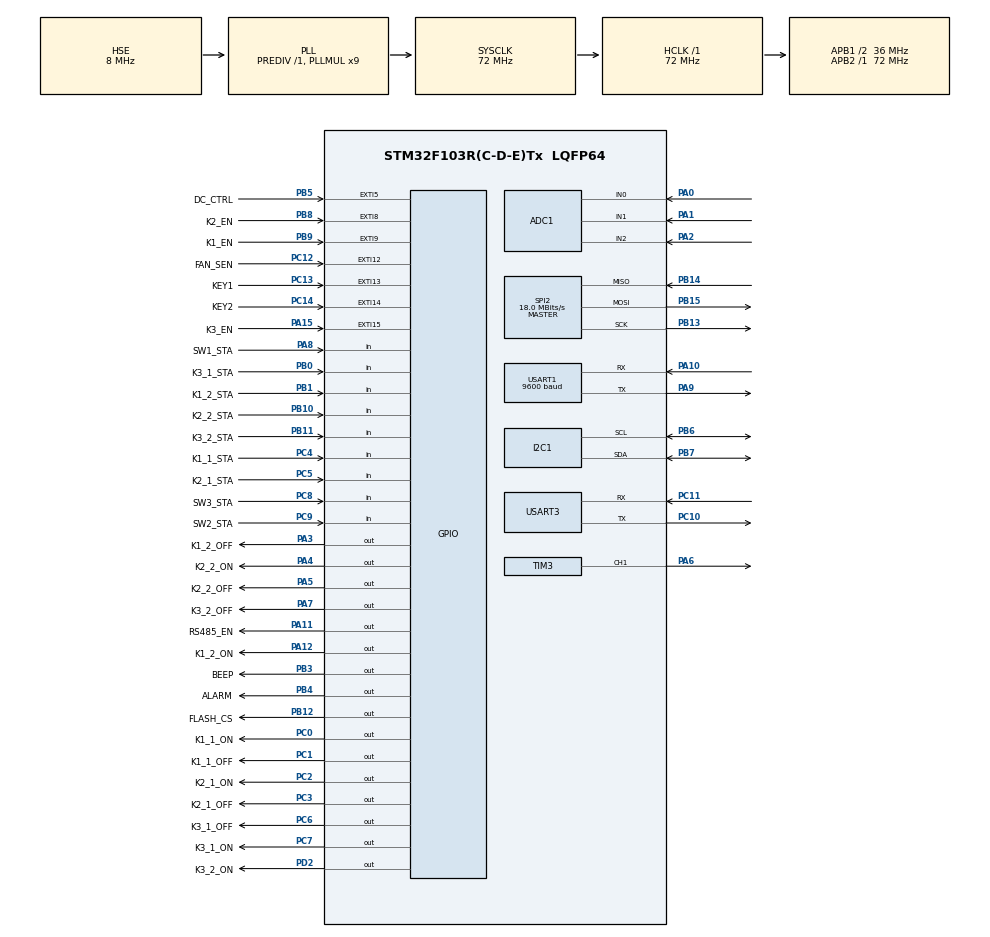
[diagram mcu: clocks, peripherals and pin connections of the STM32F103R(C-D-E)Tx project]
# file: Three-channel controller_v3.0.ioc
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ADC1.Channel-1\#ChannelRegularConversion=ADC_CHANNEL_1
ADC1.Channel-2\#ChannelRegularConversion=ADC_CHANNEL_2
ADC1.ContinuousConvMode=ENABLE
ADC1.DiscontinuousConvMode=DISABLE
ADC1.NbrOfConversion=3
ADC1.NbrOfConversionFlag=1
ADC1.Rank-1\#ChannelRegularConversion=2
ADC1.Rank-2\#ChannelRegularConversion=3
ADC1.SamplingTime-0\#ChannelRegularConversion=ADC_SAMPLETIME_55CYCLES_5
ADC1.SamplingTime-1\#ChannelRegularConversion=ADC_SAMPLETIME_55CYCLES_5
ADC1.SamplingTime-2\#ChannelRegularConversion=ADC_SAMPLETIME_55CYCLES_5
ADC1.master=1
Dma.ADC1.0.Direction=DMA_PERIPH_TO_MEMORY
Dma.ADC1.0.Instance=DMA1_Channel1
Dma.ADC1.0.MemDataAlignment=DMA_MDATAALIGN_HALFWORD
Dma.ADC1.0.MemInc=DMA_MINC_ENABLE
Dma.ADC1.0.Mode=DMA_CIRCULAR
Dma.ADC1.0.PeriphDataAlignment=DMA_PDATAALIGN_HALFWORD
Dma.ADC1.0.PeriphInc=DMA_PINC_DISABLE
Dma.ADC1.0.Priority=DMA_PRIORITY_LOW
Dma.Request0=ADC1
IWDG.Prescaler=IWDG_PRESCALER_256
IWDG.Reload=1093
Mcu.Family=STM32F1
Mcu.Name=STM32F103R(C-D-E)Tx
Mcu.Package=LQFP64
NVIC.ADC1_2_IRQn=true\:5\:0\:true\:false\:true\:true\:true\:true
NVIC.EXTI15_10_IRQn=true\:4\:0\:true\:false\:true\:true\:true\:true
NVIC.EXTI9_5_IRQn=true\:4\:0\:true\:false\:true\:true\:true\:true
NVIC.PriorityGroup=NVIC_PRIORITYGROUP_4
NVIC.USART3_IRQn=true\:0\:0\:false\:false\:true\:true\:true\:true
PA0-WKUP.GPIO_Mode=GPIO_MODE_ANALOG
PA0-WKUP.Signal=ADCx_IN0
PA1.GPIO_Mode=GPIO_MODE_ANALOG
PA1.Signal=ADCx_IN1
PA10.Mode=Asynchronous
PA10.Signal=USART1_RX
PA11.GPIO_Label=RS485_EN
PA11.GPIO_PuPd=GPIO_PULLDOWN
PA11.GPIO_Speed=GPIO_SPEED_FREQ_HIGH
PA11.PinState=GPIO_PIN_RESET
PA11.Signal=GPIO_Output
PA12.GPIO_Label=K1_2_ON
PA12.GPIO_PuPd=GPIO_PULLUP
PA12.GPIO_Speed=GPIO_SPEED_FREQ_HIGH
PA12.PinState=GPIO_PIN_SET
PA12.Signal=GPIO_Output
PA13.Mode=Serial_Wire
PA13.Signal=SYS_JTMS-SWDIO
PA14.Mode=Serial_Wire
PA14.Signal=SYS_JTCK-SWCLK
PA15.GPIO_Label=K3_EN
PA15.GPIO_ModeDefaultEXTI=GPIO_MODE_IT_RISING_FALLING
PA15.GPIO_PuPd=GPIO_PULLUP
PA15.Signal=GPXTI15
PA2.GPIO_Mode=GPIO_MODE_ANALOG
PA2.Signal=ADCx_IN2
PA3.GPIO_Label=K1_2_OFF
PA3.GPIO_PuPd=GPIO_PULLUP
PA3.GPIO_Speed=GPIO_SPEED_FREQ_HIGH
PA3.PinState=GPIO_PIN_SET
PA3.Signal=GPIO_Output
PA4.GPIO_Label=K2_2_ON
PA4.GPIO_PuPd=GPIO_PULLUP
PA4.GPIO_Speed=GPIO_SPEED_FREQ_HIGH
PA4.PinState=GPIO_PIN_SET
PA4.Signal=GPIO_Output
PA5.GPIO_Label=K2_2_OFF
PA5.GPIO_PuPd=GPIO_PULLUP
PA5.GPIO_Speed=GPIO_SPEED_FREQ_HIGH
PA5.PinState=GPIO_PIN_SET
PA5.Signal=GPIO_Output
PA6.Signal=S_TIM3_CH1
PA7.GPIO_Label=K3_2_OFF
PA7.GPIO_PuPd=GPIO_PULLUP
PA7.GPIO_Speed=GPIO_SPEED_FREQ_HIGH
PA7.PinState=GPIO_PIN_SET
PA7.Signal=GPIO_Output
PA8.GPIO_Label=SW1_STA
PA8.GPIO_PuPd=GPIO_PULLDOWN
PA8.Signal=GPIO_Input
PA9.Mode=Asynchronous
PA9.Signal=USART1_TX
PB0.GPIO_Label=K3_1_STA
PB0.GPIO_PuPd=GPIO_PULLDOWN
PB0.Signal=GPIO_Input
PB1.GPIO_Label=K1_2_STA
PB1.GPIO_PuPd=GPIO_PULLDOWN
PB1.Signal=GPIO_Input
PB10.GPIO_Label=K2_2_STA
PB10.GPIO_PuPd=GPIO_PULLDOWN
PB10.Signal=GPIO_Input
PB11.GPIO_Label=K3_2_STA
PB11.GPIO_PuPd=GPIO_PULLDOWN
PB11.Signal=GPIO_Input
PB12.GPIO_Label=FLASH_CS
PB12.GPIO_PuPd=GPIO_NOPULL
PB12.GPIO_Speed=GPIO_SPEED_FREQ_HIGH
PB12.PinState=GPIO_PIN_SET
PB12.Signal=GPIO_Output
PB13.Mode=Full_Duplex_Master
PB13.Signal=SPI2_SCK
PB14.Mode=Full_Duplex_Master
PB14.Signal=SPI2_MISO
PB15.Mode=Full_Duplex_Master
PB15.Signal=SPI2_MOSI
PB3.GPIO_Label=BEEP
PB3.GPIO_PuPd=GPIO_PULLUP
PB3.GPIO_Speed=GPIO_SPEED_FREQ_HIGH
PB3.PinState=GPIO_PIN_SET
PB3.Signal=GPIO_Output
PB4.GPIO_Label=ALARM
PB4.GPIO_PuPd=GPIO_PULLUP
PB4.GPIO_Speed=GPIO_SPEED_FREQ_HIGH
PB4.PinState=GPIO_PIN_SET
PB4.Signal=GPIO_Output
PB5.GPIO_Label=DC_CTRL
PB5.GPIO_ModeDefaultEXTI=GPIO_MODE_IT_RISING_FALLING
PB5.GPIO_PuPd=GPIO_PULLUP
PB5.Signal=GPXTI5
PB6.Mode=I2C
PB6.Signal=I2C1_SCL
PB7.Mode=I2C
PB7.Signal=I2C1_SDA
PB8.GPIO_Label=K2_EN
PB8.GPIO_ModeDefaultEXTI=GPIO_MODE_IT_RISING_FALLING
PB8.GPIO_PuPd=GPIO_PULLUP
PB8.Signal=GPXTI8
PB9.GPIO_Label=K1_EN
PB9.GPIO_ModeDefaultEXTI=GPIO_MODE_IT_RISING_FALLING
PB9.GPIO_PuPd=GPIO_PULLUP
PB9.Signal=GPXTI9
PC0.GPIO_Label=K1_1_ON
PC0.GPIO_PuPd=GPIO_PULLUP
PC0.GPIO_Speed=GPIO_SPEED_FREQ_HIGH
PC0.PinState=GPIO_PIN_SET
PC0.Signal=GPIO_Output
PC1.GPIO_Label=K1_1_OFF
PC1.GPIO_PuPd=GPIO_PULLUP
PC1.GPIO_Speed=GPIO_SPEED_FREQ_HIGH
PC1.PinState=GPIO_PIN_SET
PC1.Signal=GPIO_Output
PC10.Mode=Asynchronous
PC10.Signal=USART3_TX
PC11.Mode=Asynchronous
PC11.Signal=USART3_RX
PC12.GPIO_Label=FAN_SEN
PC12.GPIO_ModeDefaultEXTI=GPIO_MODE_IT_FALLING
PC12.GPIO_PuPd=GPIO_PULLUP
PC12.Signal=GPXTI12
PC13-TAMPER-RTC.GPIO_Label=KEY1
PC13-TAMPER-RTC.GPIO_ModeDefaultEXTI=GPIO_MODE_IT_RISING_FALLING
PC13-TAMPER-RTC.GPIO_PuPd=GPIO_PULLUP
PC13-TAMPER-RTC.Signal=GPXTI13
PC14-OSC32_IN.GPIO_Label=KEY2
PC14-OSC32_IN.GPIO_ModeDefaultEXTI=GPIO_MODE_IT_RISING_FALLING
PC14-OSC32_IN.GPIO_PuPd=GPIO_PULLUP
PC14-OSC32_IN.Signal=GPXTI14
PC2.GPIO_Label=K2_1_ON
PC2.GPIO_PuPd=GPIO_PULLUP
PC2.GPIO_Speed=GPIO_SPEED_FREQ_HIGH
PC2.PinState=GPIO_PIN_SET
PC2.Signal=GPIO_Output
PC3.GPIO_Label=K2_1_OFF
PC3.GPIO_PuPd=GPIO_PULLUP
PC3.GPIO_Speed=GPIO_SPEED_FREQ_HIGH
PC3.PinState=GPIO_PIN_SET
PC3.Signal=GPIO_Output
PC4.GPIO_Label=K1_1_STA
PC4.GPIO_PuPd=GPIO_PULLDOWN
PC4.Signal=GPIO_Input
PC5.GPIO_Label=K2_1_STA
PC5.GPIO_PuPd=GPIO_PULLDOWN
PC5.Signal=GPIO_Input
PC6.GPIO_Label=K3_1_OFF
PC6.GPIO_PuPd=GPIO_PULLUP
PC6.GPIO_Speed=GPIO_SPEED_FREQ_HIGH
PC6.PinState=GPIO_PIN_SET
PC6.Signal=GPIO_Output
PC7.GPIO_Label=K3_1_ON
PC7.GPIO_PuPd=GPIO_PULLUP
PC7.GPIO_Speed=GPIO_SPEED_FREQ_HIGH
PC7.PinState=GPIO_PIN_SET
PC7.Signal=GPIO_Output
PC8.GPIO_Label=SW3_STA
PC8.GPIO_PuPd=GPIO_PULLDOWN
PC8.Signal=GPIO_Input
PC9.GPIO_Label=SW2_STA
PC9.GPIO_PuPd=GPIO_PULLDOWN
PC9.Signal=GPIO_Input
PD0-OSC_IN.Mode=HSE-External-Oscillator
PD0-OSC_IN.Signal=RCC_OSC_IN
PD1-OSC_OUT.Mode=HSE-External-Oscillator
PD1-OSC_OUT.Signal=RCC_OSC_OUT
PD2.GPIO_Label=K3_2_ON
PD2.GPIO_PuPd=GPIO_PULLUP
PD2.GPIO_Speed=GPIO_SPEED_FREQ_HIGH
PD2.PinState=GPIO_PIN_SET
PD2.Signal=GPIO_Output
ProjectManager.HeapSize=0x200
ProjectManager.StackSize=0x400
ProjectManager.TargetToolchain=MDK-ARM V5.32
RCC.ADCPresc=RCC_ADCPCLK2_DIV6
RCC.AHBFreq_Value=72000000
RCC.APB1CLKDivider=RCC_HCLK_DIV2
RCC.APB1Freq_Value=36000000
RCC.APB1TimFreq_Value=72000000
RCC.APB2Freq_Value=72000000
RCC.APB2TimFreq_Value=72000000
RCC.HCLKFreq_Value=72000000
RCC.PLLMUL=RCC_PLL_MUL9
RCC.PLLSourceVirtual=RCC_PLLSOURCE_HSE
RCC.SYSCLKFreq_VALUE=72000000
RCC.SYSCLKSource=RCC_SYSCLKSOURCE_PLLCLK
RCC.USBFreq_Value=72000000
SH.ADCx_IN0.0=ADC1_IN0,IN0
SH.ADCx_IN1.0=ADC1_IN1,IN1
SH.ADCx_IN2.0=ADC1_IN2,IN2
SH.S_TIM3_CH1.0=TIM3_CH1,PWM Generation1 CH1
SPI2.BaudRatePrescaler=SPI_BAUDRATEPRESCALER_2
SPI2.CalculateBaudRate=18.0 MBits/s
SPI2.Direction=SPI_DIRECTION_2LINES
SPI2.Mode=SPI_MODE_MASTER
SPI2.VirtualNSS=VM_NSSSOFT
SPI2.VirtualType=VM_MASTER
TIM3.AutoReloadPreload=TIM_AUTORELOAD_PRELOAD_ENABLE
TIM3.Channel-PWM\ Generation1\ CH1=TIM_CHANNEL_1
TIM3.CounterMode=TIM_COUNTERMODE_UP
TIM3.Period=99
TIM3.Prescaler=35
TIM3.Pulse-PWM\ Generation1\ CH1=50
USART1.BaudRate=9600
USART1.VirtualMode=VM_ASYNC
USART3.VirtualMode=VM_ASYNC
VP_IWDG_VS_IWDG.Mode=IWDG_Activate
VP_TIM3_VS_ClockSourceINT.Mode=Internal
board=custom

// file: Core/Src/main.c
/* USER CODE BEGIN Header */
/**
  ******************************************************************************
  * @file           : main.c
  * @brief          : Main program body
  ******************************************************************************
  * @attention
  *
  * Copyright (c) 2025 STMicroelectronics.
  * All rights reserved.
  *
  * This software is licensed under terms that can be found in the LICENSE file
  * in the root directory of this software component.
  * If no LICENSE file comes with this software, it is provided AS-IS.
  *此处的中文秒时旨在测试cubemx的编码是否与cursoe以及keil兼容
  ******************************************************************************
  */
/* USER CODE END Header */
#include "main.h"
#include "adc.h"
#include "dma.h"
#include "i2c.h"
#include "iwdg.h"
#include "spi.h"
#include "tim.h"
#include "usart.h"
#include "gpio.h"

/* USER CODE BEGIN Includes */
#include "system_control.h"  // 系统控制和复位分析功能
#include "gpio_control.h"
#include "relay_control.h"
#include "safety_monitor.h"
#include "temperature_monitor.h"
#include "smart_delay.h"
#include "log_system.h"
#include "w25q128_driver.h"
#include "iwdg_control.h"
#include "oled_display.h"
#include <stdio.h>         // 包含标准输入输出库，用于printf功能
#include <string.h>        // 包含字符串操作函数
#include <stdarg.h>        // 包含变量参数功能

/* USER CODE END Includes */

/* USER CODE BEGIN PV */
// 外部变量声明（这些变量在其他文件中定义）
extern volatile uint8_t key1_pressed;
extern volatile uint8_t key2_pressed;
extern volatile uint32_t key1_press_start_time;
extern volatile uint32_t key2_press_start_time;
extern volatile uint8_t key1_long_press_triggered;
extern volatile uint8_t key2_long_press_triggered;
extern volatile uint32_t fan_pulse_count;

// 新增：日志输出状态管理
typedef struct {
    uint8_t is_outputting;      // 是否正在输出日志
    uint32_t current_index;     // 当前输出索引
    uint32_t total_logs;        // 总日志数量
    uint32_t last_output_time;  // 上次输出时间
} LogOutputState_t;

static LogOutputState_t log_output_state = {0};

/* USER CODE END PV */

void SystemClock_Config(void);

/* USER CODE BEGIN 0 */

/**
  * @brief  重定向printf函数到USART3，用于调试信息输出
  * @param  ch: 要发送的字符
  * @param  f: 文件指针（未使用）
  * @retval 发送的字符
  */
// int fputc(int ch, FILE *f)
// {
//   // 通过USART3发送单个字符，等待发送完成
//   HAL_UART_Transmit(&huart3, (uint8_t *)&ch, 1, HAL_MAX_DELAY);
//   return ch;  // 返回发送的字符
// }

/* USER CODE END 0 */

int main(void)
{

  /* MCU Configuration--------------------------------------------------------*/

  /* Reset of all peripherals, Initializes the Flash interface and the Systick. */
  HAL_Init();

  /* Configure the system clock */
  SystemClock_Config();

  /* Initialize all configured peripherals */
  MX_GPIO_Init();
  MX_DMA_Init();
  MX_ADC1_Init();
  MX_I2C1_Init();
  MX_IWDG_Init();
  MX_SPI2_Init();
  MX_TIM3_Init();
  MX_USART1_UART_Init();
  MX_USART3_UART_Init();
  /* USER CODE BEGIN 2 */

  // 延时200ms等待系统稳定
  HAL_Delay(200);

  // 串口初始化测试
  DEBUG_Printf("\r\n=== 三通道切换箱控制系统启动 ===\r\n");
  DEBUG_Printf("USART3调试串口初始化完成\r\n");

  // 初始化各功能模块
  DEBUG_Printf("开始初始化各功能模块...\r\n");

  // 启动风扇PWM输出
  HAL_TIM_PWM_Start(&htim3, TIM_CHANNEL_1);
  DEBUG_Printf("风扇PWM输出启动完成\r\n");

  // OLED显示模块初始化
  if(OLED_TestConnection()) {
    DEBUG_Printf("OLED连接正常，初始化OLED模块\r\n");
    OLED_Init();
  } else {
    DEBUG_Printf("OLED连接失败！\r\n");
  }

  // 温度监控模块初始化
  TemperatureMonitor_Init();
  DEBUG_Printf("温度监控模块初始化完成\r\n");

  // 继电器控制模块初始化
  RelayControl_Init();
  DEBUG_Printf("继电器控制模块初始化完成\r\n");

  // 系统控制模块初始化（包含自检流程）
  SystemControl_Init();

  // 初始化GPIO轮询系统（替代中断方式）
  GPIO_InitPollingSystem();

  // 禁用K_EN和DC_CTRL中断，改为轮询模式
  GPIO_DisableInterrupts();

  // IWDG看门狗控制模块初始化
  IwdgControl_Init();
  DEBUG_Printf("IWDG看门狗控制模块初始化完成\r\n");

  // 输出轮询系统初始化状态
  GPIO_PrintPollingStats();
 // DEBUG_Printf("=== 系统已切换为轮询模式，EMI干扰保护已启用 ===\r\n");

  // 打印复位原因统计信息（在复位原因设置完成后）
  IwdgControl_PrintResetReason();

  // 统一检测系统重启原因并记录到日志系统
  DEBUG_Printf("=== 统一检测系统重启原因 ===\r\n");
  uint8_t reset_reason_detected = 0;
  char reset_reason_msg[48] = {0};
  IwdgResetReason_t iwdg_reset_reason = IWDG_RESET_UNKNOWN;
  static uint32_t reset_count = 0;  // 重启计数（简化版，存储在静态变量中）

  // 检测看门狗复位
  if(__HAL_RCC_GET_FLAG(RCC_FLAG_IWDGRST)) {
    DEBUG_Printf("检测到看门狗复位，系统正在恢复...\r\n");
    strcpy(reset_reason_msg, "Watchdog reset detected");
    reset_reason_detected = 1;
    iwdg_reset_reason = IWDG_RESET_WATCHDOG;
    reset_count++;  // 看门狗复位计数增加
  }
  // 检测窗口看门狗复位
  else if(__HAL_RCC_GET_FLAG(RCC_FLAG_WWDGRST)) {
    DEBUG_Printf("检测到窗口看门狗复位\r\n");
    strcpy(reset_reason_msg, "Window watchdog reset");
    reset_reason_detected = 6;
    iwdg_reset_reason = IWDG_RESET_WINDOW_WATCHDOG;
    reset_count++;
  }
  // 检测软件复位
  else if(__HAL_RCC_GET_FLAG(RCC_FLAG_SFTRST)) {
    DEBUG_Printf("检测到软件复位\r\n");
    strcpy(reset_reason_msg, "Software reset");
    reset_reason_detected = 2;
    iwdg_reset_reason = IWDG_RESET_SOFTWARE;
  }
  // 检测上电复位
  else if(__HAL_RCC_GET_FLAG(RCC_FLAG_PORRST)) {
    DEBUG_Printf("检测到上电复位\r\n");
    strcpy(reset_reason_msg, "Power on reset");
    reset_reason_detected = 3;
    iwdg_reset_reason = IWDG_RESET_POWER_ON;
  }
  // 检测外部复位/引脚复位
  else if(__HAL_RCC_GET_FLAG(RCC_FLAG_PINRST)) {
    DEBUG_Printf("检测到引脚复位\r\n");
    strcpy(reset_reason_msg, "Pin reset");
    reset_reason_detected = 4;
    iwdg_reset_reason = IWDG_RESET_PIN;
  }
  else {
    DEBUG_Printf("正常启动\r\n");
    strcpy(reset_reason_msg, "Normal startup");
    reset_reason_detected = 5;
    iwdg_reset_reason = IWDG_RESET_NONE;
  }

  // 将复位原因和计数传递给IWDG模块
  IwdgControl_SetResetReason(iwdg_reset_reason);
  IwdgControl_SetResetCount(reset_count);

  // 清除复位标志（统一在此处清除，避免重复检测）
  __HAL_RCC_CLEAR_RESET_FLAGS();

  DEBUG_Printf("复位原因编码: %d, IWDG原因: %d, 复位次数: %lu\r\n",
               reset_reason_detected, iwdg_reset_reason, reset_count);

  // Flash连接测试（调试用）
  DEBUG_Printf("开始Flash连接测试...\r\n");
  if(W25Q128_TestConnection() == W25Q128_OK) {
    DEBUG_Printf("Flash连接测试通过\r\n");
  } else {
    DEBUG_Printf("Flash连接测试失败\r\n");
  }

  // 日志系统模块初始化
  if(LogSystem_Init() == LOG_SYSTEM_OK) {
    DEBUG_Printf("日志系统初始化完成\r\n");

    // 复位原因已记录到调试输出，日志记录功能已删除
  } else {
    DEBUG_Printf("日志系统初始化失败\r\n");
    // 记录初始化失败到调试输出，无法记录到Flash
  }

  // 复位分析系统初始化（在日志系统之后）
  if(ResetAnalysis_Init() == 0) {
    DEBUG_Printf("复位分析系统初始化完成\r\n");
    // 复位分析系统初始化完成，日志记录功能已删除
  } else {
    DEBUG_Printf("复位分析系统初始化失败\r\n");
  }

  // 注意：IWDG将在系统进入正常状态后自动启动，无需在此处阻塞延时
  DEBUG_Printf("系统初始化完成，开始状态机循环\r\n");

  // 输出复位原因修复验证信息
  DEBUG_Printf("\r\n=== 复位原因记录修复验证 ===\r\n");
  DEBUG_Printf("? 复位检测已统一到main.c处理\r\n");
  DEBUG_Printf("? 避免了iwdg_control.c的重复检测\r\n");
  DEBUG_Printf("? 确保复位原因在日志系统初始化后记录\r\n");
  DEBUG_Printf("? 支持完整的复位类型检测和日志记录\r\n");
  DEBUG_Printf("验证方法: 重启系统后使用KEY1长按3秒查看日志\r\n");

  /* USER CODE END 2 */

  /* Infinite loop */
  while (1)
  {

    /* USER CODE BEGIN 3 */

    // ? 最高优先级：GPIO轮询处理（替代中断方式）
    GPIO_ProcessPolling();

    // ? 优先处理DC_CTRL中断标志（避免看门狗复位）
    SafetyMonitor_ProcessDcCtrlInterrupt();

    // 系统控制模块状态机处理（包含自检、主循环调度等）
    SystemControl_Process();

    // PC13按键状态检测（按键松开时执行功能）
    static uint8_t key1_was_pressed = 0;
    static uint32_t key1_saved_start_time = 0;  // 保存按键开始时间

    if (key1_pressed) {
        if (!key1_was_pressed) {
            key1_was_pressed = 1;  // 标记按键曾经被按下
            key1_saved_start_time = key1_press_start_time;  // 保存开始时间
        }

        // 按键按下期间，只显示提示信息，不执行功能
        uint32_t current_time = HAL_GetTick();
        uint32_t press_duration = current_time - key1_saved_start_time;

        // 显示按键提示（每秒更新一次）
        static uint32_t last_hint_time = 0;
        if (current_time - last_hint_time >= 1000) {
            last_hint_time = current_time;

            if (key2_pressed) {
                if (press_duration >= 3000) {
                    DEBUG_Printf("KEY1+KEY2已按下 %.1f 秒，松开将执行FLASH读取测试\r\n", press_duration/1000.0f);
                } else {
                    DEBUG_Printf("KEY1+KEY2已按下 %.1f 秒，需3秒执行FLASH读取测试\r\n", press_duration/1000.0f);
                }
            } else {
                if (press_duration >= 8000) {
                    DEBUG_Printf("KEY1已按下 %.1f 秒，松开将执行FLASH状态查看\r\n", press_duration/1000.0f);
                } else if (press_duration >= 3000) {
                    DEBUG_Printf("KEY1已按下 %.1f 秒，松开将输出日志，继续按下8秒可查看FLASH状态\r\n", press_duration/1000.0f);
                } else {
                    DEBUG_Printf("KEY1已按下 %.1f 秒，需3秒输出日志，8秒查看FLASH状态\r\n", press_duration/1000.0f);
                }
            }
        }
    } else if (key1_was_pressed && !key1_long_press_triggered) {
        // 按键松开，根据总按压时长执行对应功能
        uint32_t total_press_duration = HAL_GetTick() - key1_saved_start_time;

        // 检查是否有双键组合
        static uint8_t key2_was_pressed_with_key1 = 0;
        if (key2_pressed) {
            key2_was_pressed_with_key1 = 1;
        }

        if (key2_was_pressed_with_key1 && total_press_duration >= 3000) {
            // KEY1+KEY2组合功能已删除
            key1_long_press_triggered = 1;
            key2_long_press_triggered = 1;
            DEBUG_Printf("\r\n=== KEY1+KEY2组合（%.1f秒），功能已删除 ===\r\n", total_press_duration/1000.0f);
        } else if (!key2_was_pressed_with_key1) {
            // 单独KEY1
            if (total_press_duration >= 8000) {
                // KEY1长按8秒：FLASH状态查看
                key1_long_press_triggered = 1;
                DEBUG_Printf("\r\n=== KEY1长按%.1f秒，查看FLASH状态 ===\r\n", total_press_duration/1000.0f);
                SystemControl_PrintFlashStatus();
                DEBUG_Printf("=== FLASH状态查看完成 ===\r\n");
            } else if (total_press_duration >= 5000) {
                // KEY1长按5秒：输出日志（调整为5秒，让出3秒给复位分析）
                key1_long_press_triggered = 1;
                DEBUG_Printf("\r\n=== KEY1长按%.1f秒，开始输出日志 ===\r\n", total_press_duration/1000.0f);

                // 启动分批日志输出
                if (LogSystem_IsInitialized() && !log_output_state.is_outputting) {
                    log_output_state.is_outputting = 1;
                    log_output_state.current_index = 0;
                    log_output_state.total_logs = LogSystem_GetLogCount();
                    log_output_state.last_output_time = HAL_GetTick();

                    // 输出日志头信息
                    LogSystem_OutputHeader();

                    DEBUG_Printf("开始分批输出 %lu 条日志...\r\n", log_output_state.total_logs);
                } else if (!LogSystem_IsInitialized()) {
                    DEBUG_Printf("日志系统未初始化，无法输出日志\r\n");
                }
                DEBUG_Printf("=== 日志输出完成 ===\r\n");
            } else if (total_press_duration >= 3000) {
                // KEY1长按3秒：输出日志
                key1_long_press_triggered = 1;
                DEBUG_Printf("\r\n=== KEY1长按%.1f秒，开始输出日志 ===\r\n", total_press_duration/1000.0f);
                LogSystem_OutputAll(LOG_FORMAT_DETAILED);
            } else {
                DEBUG_Printf("KEY1按压时间不足3秒（%.1f秒），无操作\r\n", total_press_duration/1000.0f);
            }
        }

        // 重置所有标志
        key1_was_pressed = 0;
        key2_was_pressed_with_key1 = 0;
    }

    // 分批日志输出处理（非阻塞）
    if (log_output_state.is_outputting) {
        uint32_t current_time = HAL_GetTick();

        // 每10ms输出一条日志，避免阻塞主循环
        if (current_time - log_output_state.last_output_time >= 10) {
            if (log_output_state.current_index < log_output_state.total_logs) {
                // 输出单条日志
                LogSystem_OutputSingle(log_output_state.current_index, LOG_FORMAT_DETAILED);
                log_output_state.current_index++;
                log_output_state.last_output_time = current_time;

                // 每10条日志输出一次进度
                if (log_output_state.current_index % 10 == 0) {
                    DEBUG_Printf("输出进度: %lu/%lu\r\n",
                                log_output_state.current_index,
                                log_output_state.total_logs);
                }
            } else {
                // 输出完成
                LogSystem_OutputFooter();
                DEBUG_Printf("=== 日志输出完成 ===\r\n");
                log_output_state.is_outputting = 0;
            }
        }
    }

    // PC14按键状态检测（按键松开时执行功能）
    static uint8_t key2_was_pressed = 0;
    static uint32_t key2_saved_start_time = 0;  // 保存按键开始时间

    if (key2_pressed) {
        if (!key2_was_pressed) {
            key2_was_pressed = 1;  // 标记按键曾经被按下
            key2_saved_start_time = key2_press_start_time;  // 保存开始时间
            DEBUG_Printf("[KEY2调试] 按键按下检测，开始时间: %lu\r\n", key2_saved_start_time);
        }

        // 按键按下期间，只显示提示信息，不执行功能
        uint32_t current_time = HAL_GetTick();
        uint32_t press_duration = current_time - key2_saved_start_time;

        // 显示按键提示（每秒更新一次）
        static uint32_t last_hint_time2 = 0;
        if (current_time - last_hint_time2 >= 1000) {
            last_hint_time2 = current_time;

            // 只有在没有同时按下KEY1时才显示单独KEY2提示
            if (!key1_pressed) {
                if (press_duration >= 15000) {
                    DEBUG_Printf("KEY2已按下 %.1f 秒，松开将完全擦除FLASH（危险！）\r\n", press_duration/1000.0f);
                } else if (press_duration >= 10000) {
                    DEBUG_Printf("KEY2已按下 %.1f 秒，松开将执行完整写满测试，继续按下15秒可完全擦除\r\n", press_duration/1000.0f);
                } else if (press_duration >= 8000) {
                    DEBUG_Printf("KEY2已按下 %.1f 秒，松开将执行快速写满测试，继续按下10秒完整写满\r\n", press_duration/1000.0f);
                } else if (press_duration >= 3000) {
                    DEBUG_Printf("KEY2已按下 %.1f 秒，松开将快速清空日志，继续按下8秒快速写满\r\n", press_duration/1000.0f);
                } else {
                    DEBUG_Printf("KEY2已按下 %.1f 秒，需3秒清空，8秒快速写满，10秒完整写满，15秒完全擦除\r\n", press_duration/1000.0f);
                }
            } else {
                DEBUG_Printf("[KEY2调试] KEY1同时按下，不显示单独KEY2提示\r\n");
            }
        }
    } else if (key2_was_pressed && !key2_long_press_triggered) {
        // 按键松开，根据总按压时长执行对应功能
        uint32_t total_press_duration = HAL_GetTick() - key2_saved_start_time;
        DEBUG_Printf("[KEY2调试] 按键松开，总时长: %.1f秒, key2_long_press_triggered: %d\r\n",
                    total_press_duration/1000.0f, key2_long_press_triggered);

        // 只有在没有同时按下KEY1时才执行单独KEY2操作
        static uint8_t key1_was_pressed_with_key2 = 0;
        if (key1_pressed) {
            key1_was_pressed_with_key2 = 1;
            DEBUG_Printf("[KEY2调试] 检测到KEY1同时按下\r\n");
        }

        DEBUG_Printf("[KEY2调试] key1_was_pressed_with_key2: %d\r\n", key1_was_pressed_with_key2);

        if (!key1_was_pressed_with_key2) {
            DEBUG_Printf("[KEY2调试] 进入单独KEY2操作判断\r\n");
            // 单独KEY2操作
            if (total_press_duration >= 15000) {
                // KEY2长按15秒：功能已删除
                key2_long_press_triggered = 1;
                DEBUG_Printf("\r\n=== KEY2长按%.1f秒，测试功能已删除 ===\r\n", total_press_duration/1000.0f);
            } else if (total_press_duration >= 10000) {
                // KEY2长按10秒：功能已删除
                key2_long_press_triggered = 1;
                DEBUG_Printf("\r\n=== KEY2长按%.1f秒，测试功能已删除 ===\r\n", total_press_duration/1000.0f);
            } else if (total_press_duration >= 8000) {
                // KEY2长按8秒：功能已删除
                key2_long_press_triggered = 1;
                DEBUG_Printf("\r\n=== KEY2长按%.1f秒，测试功能已删除 ===\r\n", total_press_duration/1000.0f);
            } else if (total_press_duration >= 3000) {
                // KEY2长按3秒：完全清空日志和复位分析（增强功能）
                key2_long_press_triggered = 1;
                DEBUG_Printf("[KEY2调试] 进入3秒清空日志逻辑\r\n");
                DEBUG_Printf("\r\n=== KEY2长按%.1f秒，开始完全清空系统数据 ===\r\n", total_press_duration/1000.0f);

                // 第一步：清空日志系统
                if (LogSystem_IsInitialized()) {
                    DEBUG_Printf("[KEY2调试] 日志系统已初始化，开始清空\r\n");
                    LogSystemStatus_t status = LogSystem_Reset();  // 使用快速重置方式
                    if (status == LOG_SYSTEM_OK) {
                        DEBUG_Printf("? 日志系统已清空\r\n");
                    } else {
                        DEBUG_Printf("? 日志清空失败，状态码: %d\r\n", status);
                    }
                } else {
                    DEBUG_Printf("? 日志系统未初始化，无法清空日志\r\n");
                }

                // 复位分析系统重置功能已删除
                DEBUG_Printf("复位分析系统重置功能已删除\r\n");

                DEBUG_Printf("=== 系统数据完全清空操作完成 ===\r\n");
                DEBUG_Printf("已清空\r\n");  // 用户要求的反馈信息
            } else {
                DEBUG_Printf("KEY2按压时间不足3秒（%.1f秒），无操作\r\n", total_press_duration/1000.0f);
            }
        } else {
            DEBUG_Printf("[KEY2调试] 跳过单独KEY2操作（KEY1同时按下）\r\n");
        }

        // 重置所有标志
        key2_was_pressed = 0;
        key1_was_pressed_with_key2 = 0;
        DEBUG_Printf("[KEY2调试] 重置按键状态标志\r\n");
    }

    // 按键标志位超时重置（防止重复执行）
    static uint32_t key_reset_time = 0;
    if ((key1_long_press_triggered || key2_long_press_triggered) &&
        (HAL_GetTick() - key_reset_time > 2000)) {  // 2秒后自动重置
        key1_long_press_triggered = 0;
        key2_long_press_triggered = 0;
        key_reset_time = HAL_GetTick();
    }

    // 设置重置时间（当任何按键操作完成时）
    if (key1_long_press_triggered || key2_long_press_triggered) {
        if (key_reset_time == 0) {
            key_reset_time = HAL_GetTick();  // 设置重置开始时间
        }
    }

    // 看门狗喂狗：简化实现，减少调试输出
    SystemState_t current_state = SystemControl_GetState();
    uint16_t alarm_flags = SafetyMonitor_GetAlarmFlags();

    // 注释看门狗调试信息，保持串口输出简洁
    // static uint32_t last_watchdog_debug_time = 0;
    // uint32_t current_time = HAL_GetTick();
    // if(current_time - last_watchdog_debug_time >= 500) {
    //     last_watchdog_debug_time = current_time;
    //     DEBUG_Printf("[看门狗调试] 时间:%lu, 系统状态:%d, 异常标志:0x%04X\r\n",
    //                 current_time, current_state, alarm_flags);
    //     DEBUG_Printf("[看门狗调试] IWDG自动喂狗:%s, 安全检查:%s\r\n",
    //                 iwdg_auto_feed ? "启用" : "禁用",
    //                 iwdg_safe_to_feed ? "通过" : "阻止");
    // }

    // 注释调试相关的变量，避免编译警告
    // static uint32_t last_feed_time = 0;
    // static uint32_t feed_count = 0;

    // 简化的看门狗喂狗：在正常状态、报警状态和自检阶段都喂狗
    if(current_state == SYSTEM_STATE_NORMAL ||
       current_state == SYSTEM_STATE_ALARM ||
       current_state == SYSTEM_STATE_SELF_TEST ||
       current_state == SYSTEM_STATE_SELF_TEST_CHECK) {
        // 正常状态、报警状态和自检阶段都需要喂狗，只有错误状态才停止喂狗
        IWDG_Refresh();

        // 注释喂狗统计调试信息，保持串口输出简洁
        // feed_count++;
        // uint32_t current_time = HAL_GetTick();
        // uint32_t feed_interval = current_time - last_feed_time;
        // last_feed_time = current_time;
        //
        // if(feed_count % 100 == 0) {
        //     DEBUG_Printf("[看门狗调试] 已喂狗%lu次，本次间隔:%lums\r\n", feed_count, feed_interval);
        // }
        //
        // // 如果存在O类异常，每次喂狗都输出确认信息
        // if(alarm_flags & (1 << 14)) {
        //     static uint32_t last_o_feed_debug = 0;
        //     if(current_time - last_o_feed_debug >= 1000) {  // 每秒输出一次
        //         last_o_feed_debug = current_time;
        //         DEBUG_Printf("[看门狗调试] ? O类异常期间继续喂狗，状态:%d，计数:%lu\r\n",
        //                     current_state, feed_count);
        //     }
        // }
    } else {
        // 不喂狗的情况（调试信息已注释）
        // static uint32_t last_no_feed_debug = 0;
        // uint32_t current_time = HAL_GetTick();
        // if(current_time - last_no_feed_debug >= 1000) {
        //     last_no_feed_debug = current_time;
        //     DEBUG_Printf("[看门狗调试] ? 停止喂狗，系统状态:%d（错误状态）\r\n", current_state);
        // }
    }

    // 主循环延时1ms，避免CPU占用过高
    HAL_Delay(1);

  }
  /* USER CODE END 3 */
}

void SystemClock_Config(void)
{
  RCC_OscInitTypeDef RCC_OscInitStruct = {0};
  RCC_ClkInitTypeDef RCC_ClkInitStruct = {0};
  RCC_PeriphCLKInitTypeDef PeriphClkInit = {0};

  /** Initializes the RCC Oscillators according to the specified parameters
  * in the RCC_OscInitTypeDef structure.
  */
  RCC_OscInitStruct.OscillatorType = RCC_OSCILLATORTYPE_LSI|RCC_OSCILLATORTYPE_HSE;
  RCC_OscInitStruct.HSEState = RCC_HSE_ON;
  RCC_OscInitStruct.HSEPredivValue = RCC_HSE_PREDIV_DIV1;
  RCC_OscInitStruct.HSIState = RCC_HSI_ON;
  RCC_OscInitStruct.LSIState = RCC_LSI_ON;
  RCC_OscInitStruct.PLL.PLLState = RCC_PLL_ON;
  RCC_OscInitStruct.PLL.PLLSource = RCC_PLLSOURCE_HSE;
  RCC_OscInitStruct.PLL.PLLMUL = RCC_PLL_MUL9;
  if (HAL_RCC_OscConfig(&RCC_OscInitStruct) != HAL_OK)
  {
    Error_Handler();
  }

  /** Initializes the CPU, AHB and APB buses clocks
  */
  RCC_ClkInitStruct.ClockType = RCC_CLOCKTYPE_HCLK|RCC_CLOCKTYPE_SYSCLK
                              |RCC_CLOCKTYPE_PCLK1|RCC_CLOCKTYPE_PCLK2;
  RCC_ClkInitStruct.SYSCLKSource = RCC_SYSCLKSOURCE_PLLCLK;
  RCC_ClkInitStruct.AHBCLKDivider = RCC_SYSCLK_DIV1;
  RCC_ClkInitStruct.APB1CLKDivider = RCC_HCLK_DIV2;
  RCC_ClkInitStruct.APB2CLKDivider = RCC_HCLK_DIV1;

  if (HAL_RCC_ClockConfig(&RCC_ClkInitStruct, FLASH_LATENCY_2) != HAL_OK)
  {
    Error_Handler();
  }
  PeriphClkInit.PeriphClockSelection = RCC_PERIPHCLK_ADC;
  PeriphClkInit.AdcClockSelection = RCC_ADCPCLK2_DIV6;
  if (HAL_RCCEx_PeriphCLKConfig(&PeriphClkInit) != HAL_OK)
  {
    Error_Handler();
  }
}

void Error_Handler(void)
{
  __disable_irq();
  while (1)
  {
  }
}
